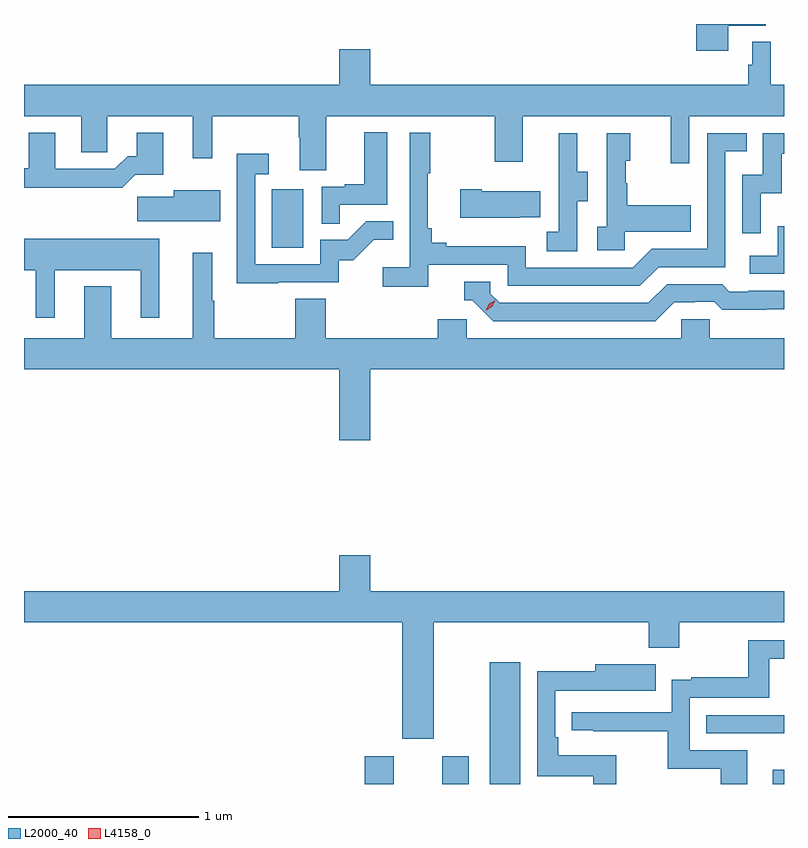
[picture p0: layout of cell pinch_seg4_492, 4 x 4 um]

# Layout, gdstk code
import gdstk
lib = gdstk.Library(unit=1e-6, precision=1e-09)
def R(c, l, rs):  # rectangles x0, y0, x1, y1
    for r in rs: c.add(gdstk.rectangle(r[:2], r[2:], *l))
def P(c, l, *ps):  # polygons
    for p in ps: c.add(gdstk.Polygon(p, *l))
L2000_40 = (2000, 40)
L4158_0 = (4158, 0)

pinch_seg4_492 = lib.new_cell('pinch_seg4_492')
R(pinch_seg4_492, L2000_40, [(920.387,760.005,920.539,760.15), (920.795,760.005,920.935,760.15), (921.044,760.005,921.205,760.645), (922.535,760.005,922.593,760.079), (922.183,760.272,922.593,760.368), (919.898,762.828,920.062,763.135)])
P(pinch_seg4_492, L2000_40, [(922.3,763.997),(922.498,763.997),(922.498,764.005),(922.13,764.005),(922.13,763.863),(922.3,763.863)],
  [(920.185,763.52),(921.07,763.52),(921.07,763.281),(921.217,763.281),(921.217,763.52),(921.998,763.52),(921.998,763.272),(922.095,763.272),(922.095,763.52),(922.593,763.52),(922.593,763.684),(922.523,763.684),(922.523,763.912),(922.425,763.912),(922.425,763.791),(922.405,763.791),(922.405,763.684),(920.416,763.684),(920.416,763.873),(920.252,763.873),(920.252,763.684),(918.593,763.684),(918.593,763.52),(918.893,763.52),(918.893,763.33),(919.032,763.33),(919.032,763.52),(919.481,763.52),(919.481,763.299),(919.585,763.299),(919.585,763.52),(920.038,763.52),(920.038,763.408),(920.045,763.408),(920.045,763.234),(920.185,763.234)],
  [(920.255,763.053),(920.506,763.053),(920.506,763.435),(920.384,763.435),(920.384,763.162),(920.281,763.162),(920.281,763.149),(920.16,763.149),(920.16,762.955),(920.255,762.955)],
  [(919.178,763.211),(919.327,763.211),(919.327,763.432),(919.187,763.432),(919.187,763.309),(919.138,763.309),(919.071,763.242),(918.757,763.242),(918.757,763.432),(918.617,763.432),(918.617,763.245),(918.593,763.245),(918.593,763.144),(918.853,763.144),(918.853,763.142),(919.109,763.142)],
  [(920.72,762.738),(921.138,762.738),(921.138,762.627),(921.835,762.627),(921.934,762.726),(922.284,762.726),(922.284,763.335),(922.397,763.335),(922.397,763.431),(922.188,763.431),(922.188,762.822),(921.897,762.822),(921.798,762.723),(921.234,762.723),(921.234,762.835),(920.815,762.835),(920.815,762.854),(920.738,762.854),(920.738,762.931),(920.719,762.931),(920.719,763.219),(920.731,763.219),(920.731,763.432),(920.622,763.432),(920.622,762.724),(920.481,762.724),(920.481,762.622),(920.72,762.622)],
  [(922.47,763.115),(922.58,763.115),(922.58,763.323),(922.593,763.323),(922.593,763.431),(922.482,763.431),(922.482,763.212),(922.374,763.212),(922.374,762.903),(922.47,762.903)],
  [(921.504,763.072),(921.559,763.072),(921.559,763.227),(921.505,763.227),(921.505,763.429),(921.407,763.429),(921.407,763.215),(921.408,763.215),(921.408,762.911),(921.345,762.911),(921.345,762.808),(921.504,762.808)],
  [(921.756,762.911),(922.103,762.911),(922.103,763.051),(921.769,763.051),(921.769,763.166),(921.759,763.166),(921.759,763.284),(921.784,763.284),(921.784,763.429),(921.66,763.429),(921.66,762.938),(921.609,762.938),(921.609,762.813),(921.756,762.813)],
  [(919.931,762.645),(920.25,762.645),(920.25,762.762),(920.326,762.762),(920.433,762.869),(920.537,762.869),(920.537,762.968),(920.394,762.968),(920.296,762.87),(920.151,762.87),(920.151,762.741),(919.809,762.741),(919.809,763.215),(919.882,763.215),(919.882,763.321),(919.713,763.321),(919.713,762.64),(919.931,762.64)],
  [(921.203,762.989),(921.311,762.989),(921.311,763.126),(921.001,763.126),(921.001,763.134),(920.889,763.134),(920.889,762.986),(921.203,762.986)],
  [(919.627,763.129),(919.382,763.129),(919.382,763.097),(919.188,763.097),(919.188,762.968),(919.627,762.968)],
  [(922.593,762.94),(922.56,762.94),(922.56,762.786),(922.413,762.786),(922.413,762.69),(922.593,762.69)],
  [(918.754,762.71),(919.208,762.71),(919.208,762.459),(919.306,762.459),(919.306,762.874),(918.593,762.874),(918.593,762.71),(918.656,762.71),(918.656,762.459),(918.754,762.459)],
  [(920.416,762.188),(922.593,762.188),(922.593,762.352),(922.203,762.352),(922.203,762.45),(922.053,762.45),(922.053,762.352),(920.922,762.352),(920.922,762.45),(920.771,762.45),(920.771,762.352),(920.18,762.352),(920.18,762.56),(920.02,762.56),(920.02,762.352),(919.595,762.352),(919.595,762.548),(919.585,762.548),(919.585,762.802),(919.481,762.802),(919.481,762.352),(919.051,762.352),(919.051,762.625),(918.911,762.625),(918.911,762.352),(918.593,762.352),(918.593,762.188),(920.252,762.188),(920.252,761.814),(920.416,761.814)],
  [(922.015,762.54),(922.122,762.54),(922.122,762.543),(922.225,762.543),(922.267,762.501),(922.5,762.501),(922.5,762.503),(922.593,762.503),(922.593,762.6),(922.405,762.6),(922.405,762.597),(922.306,762.597),(922.267,762.636),(921.978,762.636),(921.879,762.537),(921.096,762.537),(921.048,762.585),(921.048,762.648),(920.909,762.648),(920.909,762.552),(920.952,762.552),(921.063,762.441),(921.916,762.441)],
  [(920.749,760.856),(921.881,760.856),(921.881,760.721),(922.041,760.721),(922.041,760.856),(922.593,760.856),(922.593,761.02),(920.416,761.02),(920.416,761.209),(920.252,761.209),(920.252,761.02),(918.593,761.02),(918.593,760.856),(920.585,760.856),(920.585,760.242),(920.749,760.242)],
  [(922.399,760.182),(922.098,760.182),(922.098,760.458),(922.515,760.458),(922.515,760.664),(922.593,760.664),(922.593,760.761),(922.404,760.761),(922.404,760.567),(922.105,760.567),(922.105,760.555),(922.002,760.555),(922.002,760.383),(921.477,760.383),(921.477,760.287),(921.589,760.287),(921.589,760.282),(921.982,760.282),(921.982,760.086),(922.259,760.086),(922.259,760.005),(922.399,760.005)],
  [(921.709,760.156),(921.404,760.156),(921.404,760.252),(921.39,760.252),(921.39,760.497),(921.703,760.497),(921.703,760.496),(921.917,760.496),(921.917,760.636),(921.599,760.636),(921.599,760.598),(921.294,760.598),(921.294,760.047),(921.588,760.047),(921.588,760.005),(921.709,760.005)])
P(pinch_seg4_492, L4158_0, [(921.024,762.499),(921.024,762.499),(921.041,762.532),(921.072,762.551),(921.072,762.551),(921.072,762.551),(921.056,762.518),(921.025,762.499)])

lib.write_gds('pinch_seg4_492.gds')
